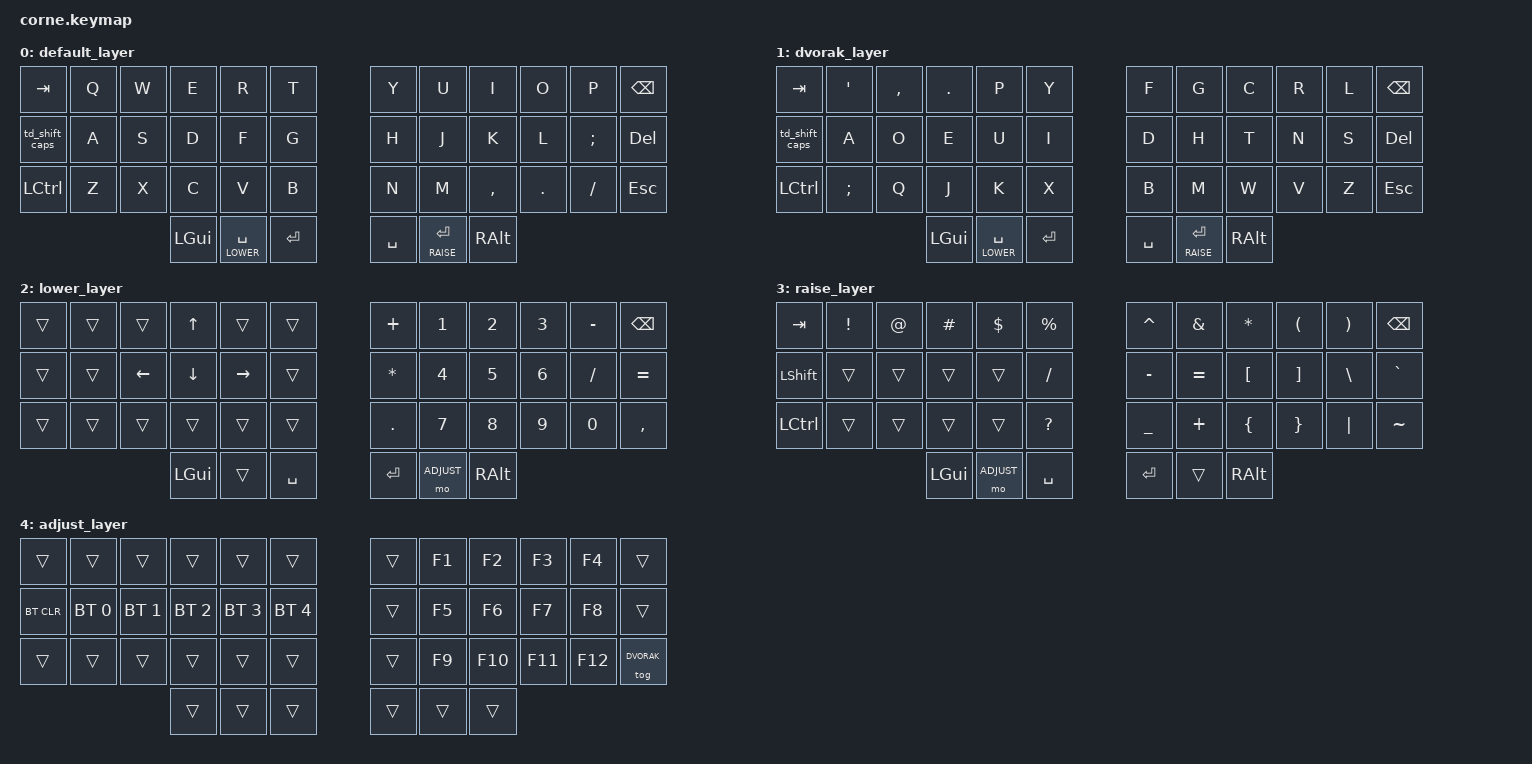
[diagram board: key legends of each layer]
/*
 * Copyright (c) 2020 The ZMK Contributors
 *
 * SPDX-License-Identifier: MIT
 */

#include <behaviors.dtsi>
#include <dt-bindings/zmk/bt.h>
#include <dt-bindings/zmk/keys.h>

#define DEFAULT 0
#define DVORAK 1
#define LOWER 2
#define RAISE 3
#define ADJUST 4

/ {
    behaviors {
        td_shift_caps: tap_dance_shift_caps {
            compatible = "zmk,behavior-tap-dance";
            #binding-cells = <0>;
            tapping-term-ms = <200>;
            bindings = <&kp LSHFT>, <&kp CAPS>;
        };

        lower_space: lower_space {
            compatible = "zmk,behavior-hold-tap";
            #binding-cells = <2>;
            flavor = "balanced";
            tapping-term-ms = <200>;
            quick-tap-ms = <125>;
            bindings = <&mo>, <&kp>;
        };

        raise_enter: raise_enter {
            compatible = "zmk,behavior-hold-tap";
            #binding-cells = <2>;
            flavor = "balanced";
            tapping-term-ms = <200>;
            quick-tap-ms = <125>;
            bindings = <&mo>, <&kp>;
        };
    };

    combos {
        compatible = "zmk,combos";

        combo_adjust {
            timeout-ms = <50>;
            key-positions = <39 40>;
            bindings = <&mo ADJUST>;
        };
    };

    keymap {
        compatible = "zmk,keymap";

        default_layer {
            // -----------------------------------------------------------------------------------------
            // |  TAB |  Q  |  W  |  E  |  R  |  T  |   |  Y  |  U   |  I  |  O  |  P  | BSPC |
            // | SHFT |  A  |  S  |  D  |  F  |  G  |   |  H  |  J   |  K  |  L  |  ;  | DEL  |
            // | CTRL |  Z  |  X  |  C  |  V  |  B  |   |  N  |  M   |  ,  |  .  |  /  | ESC  |
            //                    | GUI | LWR/SPC | ENT |   | SPC | RSE/ENT | ALT |

            bindings = <
&kp TAB         &kp Q  &kp W  &kp E     &kp R                     &kp T      &kp Y      &kp U                   &kp I      &kp O    &kp P     &kp BSPC
&td_shift_caps  &kp A  &kp S  &kp D     &kp F                     &kp G      &kp H      &kp J                   &kp K      &kp L    &kp SEMI  &kp DEL
&kp LCTRL       &kp Z  &kp X  &kp C     &kp V                     &kp B      &kp N      &kp M                   &kp COMMA  &kp DOT  &kp FSLH  &kp ESC
                              &kp LGUI  &lower_space LOWER SPACE  &kp RET    &kp SPACE  &raise_enter RAISE RET  &kp RALT
            >;
        };

        dvorak_layer {
            // -----------------------------------------------------------------------------------------
            // |  TAB |  '  |  ,  |  .  |  P  |  Y  |   |  F  |  G   |  C  |  R  |  L  | BSPC |
            // | SHFT |  A  |  O  |  E  |  U  |  I  |   |  D  |  H   |  T  |  N  |  S  | DEL  |
            // | CTRL |  ;  |  Q  |  J  |  K  |  X  |   |  B  |  M   |  W  |  V  |  Z  | ESC  |
            //                    | GUI | LWR/SPC | ENT |   | SPC | RSE/ENT | ALT |

            bindings = <
&kp TAB         &kp SQT   &kp COMMA  &kp DOT   &kp P                     &kp Y      &kp F      &kp G                   &kp C     &kp R  &kp L  &kp BSPC
&td_shift_caps  &kp A     &kp O      &kp E     &kp U                     &kp I      &kp D      &kp H                   &kp T     &kp N  &kp S  &kp DEL
&kp LCTRL       &kp SEMI  &kp Q      &kp J     &kp K                     &kp X      &kp B      &kp M                   &kp W     &kp V  &kp Z  &kp ESC
                                     &kp LGUI  &lower_space LOWER SPACE  &kp RET    &kp SPACE  &raise_enter RAISE RET  &kp RALT
            >;
        };

        lower_layer {
            // -----------------------------------------------------------------------------------------
            // |      |     |     |    YP |     |     |   |  +  |  1  |  2  |  3  | -  | BSPC |
            // |      |     | LEFT|  DOWN |RIGHT|     |   |  *  |  4  |  5  |  6  |  /  |  =   |
            // |      |     |     |     |     |     |   |  .  |  7  |  8  |  9  |  0  |  ,   |
            //                    | GUI |     | SPC |   | ENT | ADJ | ALT |

            bindings = <
&trans  &trans  &trans    &kp UP    &trans     &trans       &kp PLUS   &kp N1      &kp N2    &kp N3  &kp MINUS  &kp BSPC
&trans  &trans  &kp LEFT  &kp DOWN  &kp RIGHT  &trans       &kp ASTRK  &kp N4      &kp N5    &kp N6  &kp FSLH   &kp EQUAL
&trans  &trans  &trans    &trans    &trans     &trans       &kp DOT    &kp N7      &kp N8    &kp N9  &kp N0     &kp COMMA
                          &kp LGUI  &trans     &kp SPACE    &kp RET    &mo ADJUST  &kp RALT
            >;
        };

        raise_layer {
            // -----------------------------------------------------------------------------------------
            // |  TAB |  !  |  @  |  #  |  $  |  %  |   |  ^  |  &  |  *  |  (  |  )  | BSPC |
            // | SHFT |     |     |     |     |     |   |  -  |  =  |  [  |  ]  |  \  |  `   |
            // | CTRL |     |     |     |     |     |   |  _  |  +  |  {  |  }  | "|" |  ~   |
            //                    | GUI | ADJ | SPC |   | ENT |     | ALT |

            bindings = <
&kp TAB    &kp EXCL  &kp AT  &kp HASH  &kp DLLR    &kp PRCNT       &kp CARET  &kp AMPS   &kp ASTRK  &kp LPAR  &kp RPAR  &kp BSPC
&kp LSHFT  &trans    &trans  &trans    &trans      &kp SLASH       &kp MINUS  &kp EQUAL  &kp LBKT   &kp RBKT  &kp BSLH  &kp GRAVE
&kp LCTRL  &trans    &trans  &trans    &trans      &kp QUESTION    &kp UNDER  &kp PLUS   &kp LBRC   &kp RBRC  &kp PIPE  &kp TILDE
                             &kp LGUI  &mo ADJUST  &kp SPACE       &kp RET    &trans     &kp RALT
            >;
        };

        adjust_layer {
            // -----------------------------------------------------------------------------------------
            // |      |     |     |     |     |     |   |    | F1    |  F2   | F3    | F4    |      |
            // | BTCLR | BT1 | BT2 | BT3 | BT5 | BT5 |   |   | F5  | F6  | F7  |  F8   |     |
            // |      |     |     |     |   |     |   |     |   F9|  F10   |  F11   |  F12   | TOGGLE |
            //                    |     |     |     |   |     |     |     |

            bindings = <
&trans      &trans        &trans        &trans        &trans        &trans          &trans  &kp F1  &kp F2   &kp F3   &kp F4   &trans
&bt BT_CLR  &bt BT_SEL 0  &bt BT_SEL 1  &bt BT_SEL 2  &bt BT_SEL 3  &bt BT_SEL 4    &trans  &kp F5  &kp F6   &kp F7   &kp F8   &trans
&trans      &trans        &trans        &trans        &trans        &trans          &trans  &kp F9  &kp F10  &kp F11  &kp F12  &tog DVORAK
                                        &trans        &trans        &trans          &trans  &trans  &trans
            >;
        };
    };
};
